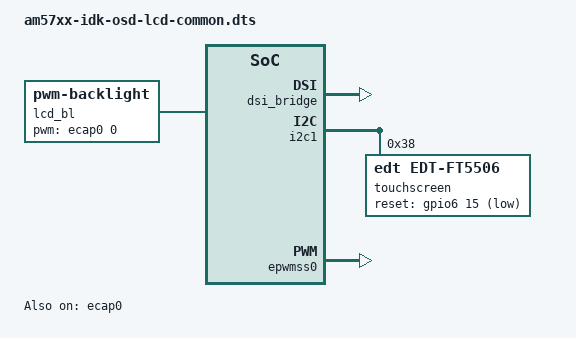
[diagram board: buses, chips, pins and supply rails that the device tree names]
// SPDX-License-Identifier: GPL-2.0
/*
 * Copyright (C) 2019 Texas Instruments Incorporated - http://www.ti.com/
 */

/dts-v1/;
/plugin/;
#include <dt-bindings/gpio/gpio.h>
#include <dt-bindings/interrupt-controller/irq.h>

/ {
  fragment@101 {
	target-path = "/";

	__overlay__ {
		aliases {
			display0 = "/display";
			display1 = "/connector";
		};

		lcd_bl: backlight {
			compatible = "pwm-backlight";
			pwms = <&ecap0 0 50000 1>;
			brightness-levels = <0 51 53 56 62 75 101 152 255>;
			default-brightness-level = <8>;
		};
	};
  };
};

&dsi_bridge {
	status = "okay";
};

&i2c1 {
	#address-cells = <1>;
	#size-cells = <0>;

	touchscreen: edt-ft5506@38 {
		status = "okay";
		compatible = "edt,edt-ft5506", "edt,edt-ft5x06";

		reg = <0x38>;

		/* GPIO line is inverted before going to touch panel */
		reset-gpios = <&gpio6 15 GPIO_ACTIVE_LOW>;

		touchscreen-size-x = <1920>;
		touchscreen-size-y = <1200>;

		wakeup-source;
	};
};

&epwmss0 {
	status = "okay";
};

&ecap0 {
	status = "okay";
};
